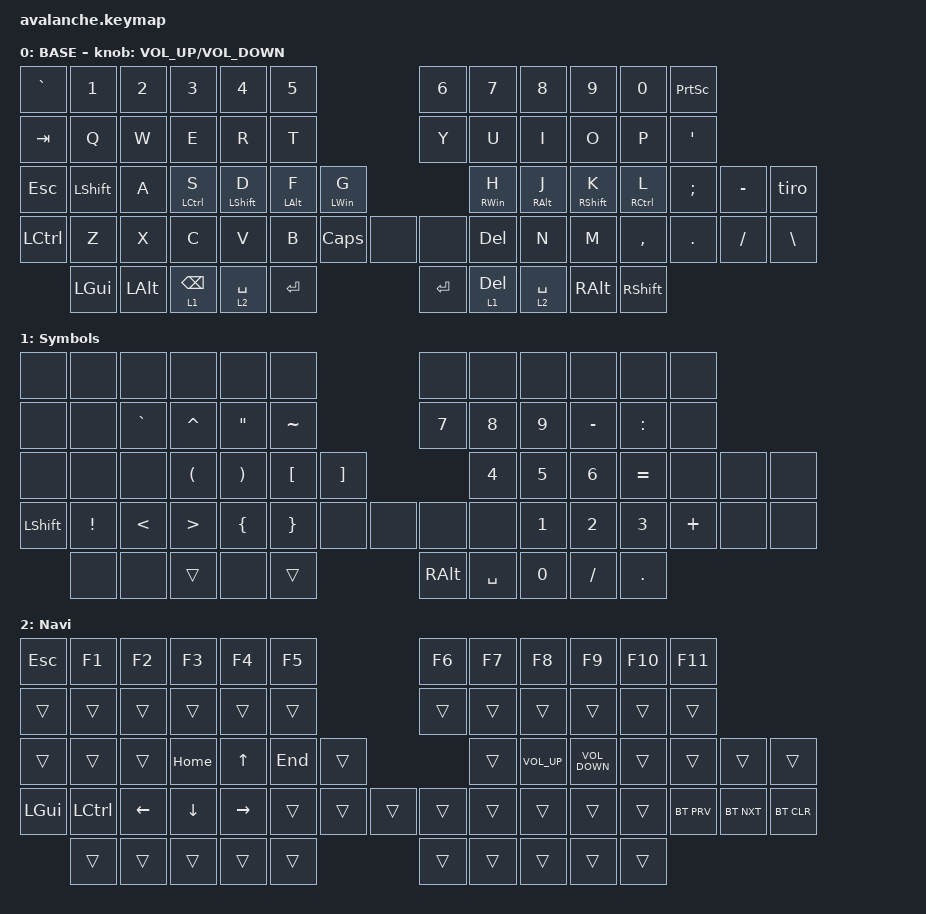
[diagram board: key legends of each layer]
#include <behaviors.dtsi>
#include <dt-bindings/zmk/bt.h>
#include <dt-bindings/zmk/keys.h>
#include <dt-bindings/zmk/pointing.h>

&lt {
    tapping-term-ms = <200>;
    quick-tap-ms = <100>;
};

&mt { tapping-term-ms = <200>; };

/ {
    behaviors {
        bhm: balanced_homerow_mods {
            compatible = "zmk,behavior-hold-tap";
            #binding-cells = <2>;
            tapping-term-ms = <200>;

            // <---[[moderate duration]]

            quick-tap-ms = <0>;
            flavor = "hold-preferred";
            bindings = <&kp>, <&kp>;
        };

        hm: homerow_mods {
            compatible = "zmk,behavior-hold-tap";
            #binding-cells = <2>;
            tapping-term-ms = <400>;
            flavor = "tap-preferred";
            bindings = <&kp>, <&kp>;

            quick-tap-ms = <200>;
        };
    };

    macros {
        macro_vim_save: vim_save {
            compatible = "zmk,behavior-macro";
            #binding-cells = <0>;
            wait-ms = <0>;
            tap-ms = <5>;
            bindings = <&kp ESCAPE &kp COLON &kp W &kp ENTER>;
            label = "VIM_SAVE";
        };

        macro_previous_folder: macro_previous_folder {
            compatible = "zmk,behavior-macro";
            #binding-cells = <0>;
            wait-ms = <0>;
            tap-ms = <5>;
            bindings = <&kp DOT &kp DOT &kp FSLH>;
            label = "MACRO_PREVIOUS_FOLDER";
        };

        macro_vim_replace: replace {
            compatible = "zmk,behavior-macro";
            #binding-cells = <0>;
            bindings = <&kp ESC &kp COLON &kp PERCENT &kp S &kp SLASH>;
            label = "REPLACE";
        };

        macro_paste: paste {
            compatible = "zmk,behavior-macro";
            #binding-cells = <0>;
            bindings = <&kp LEFT_GUI &kp V>;
            label = "PASTE";
        };

        clear_highlight: clear_highlight {
            compatible = "zmk,behavior-macro";
            #binding-cells = <0>;
            bindings = <&kp ESCAPE &kp COLON &kp N &kp O &kp N &kp ENTER>;
            label = "CLEAR_HIGHLIGHT";
        };

        tiro: tiro {
            compatible = "zmk,behavior-macro";
            #binding-cells = <0>;
            bindings = <&kp V &mkp MB1>;
            label = "TIRO";
        };
    };

    combos { compatible = "zmk,combos"; };

    keymap {
        compatible = "zmk,keymap";

        BASE {
            bindings = <
&kp GRAVE  &kp N1          &kp N2        &kp N3               &kp N4             &kp N5                                   &kp N6     &kp N7            &kp N8            &kp N9              &kp N0                &kp PRINTSCREEN
&kp TAB    &kp Q           &kp W         &kp E                &kp R              &kp T                                    &kp Y      &kp U             &kp I             &kp O               &kp P                 &kp APOS
&kp ESC    &kp LEFT_SHIFT  &kp A         &bhm LEFT_CONTROL S  &bhm LEFT_SHIFT D  &bhm LEFT_ALT F  &bhm LEFT_WIN G                    &bhm RIGHT_WIN H  &bhm RIGHT_ALT J  &bhm RIGHT_SHIFT K  &bhm RIGHT_CONTROL L  &kp SEMI         &kp MINUS  &tiro
&kp LCTRL  &kp Z           &kp X         &kp C                &kp V              &kp B            &kp CAPS         &none  &none      &kp DEL           &kp N             &kp M               &kp COMMA             &kp DOT          &kp FSLH   &kp BACKSLASH
           &kp LEFT_GUI    &kp LEFT_ALT  &lt 1 BACKSPACE      &lt 2 SPACE        &kp ENTER                                &kp ENTER  &lt 1 DEL         &lt 2 SPACE       &kp RIGHT_ALT       &kp RIGHT_SHIFT
            >;

            sensor-bindings = <&inc_dec_kp C_VOLUME_UP C_VOLUME_DOWN>;
        };

        Symbols {
            bindings = <
&none           &none            &none          &none                 &none                  &none                                       &none          &none      &none   &none      &none      &none
&none           &none            &kp GRAVE      &kp CARET             &kp DOUBLE_QUOTES      &kp TILDE                                   &kp N7         &kp N8     &kp N9  &kp MINUS  &kp COLON  &none
&none           &none            &none          &kp LEFT_PARENTHESIS  &kp RIGHT_PARENTHESIS  &kp LEFT_BRACKET  &kp RIGHT_BRACKET                        &kp N4     &kp N5  &kp N6     &kp EQUAL  &none     &none  &none
&kp LEFT_SHIFT  &kp EXCLAMATION  &kp LESS_THAN  &kp GREATER_THAN      &kp LEFT_BRACE         &kp RIGHT_BRACE   &none              &none  &none          &none      &kp N1  &kp N2     &kp N3     &kp PLUS  &none  &none
                &none            &none          &trans                &none                  &trans                                      &kp RIGHT_ALT  &kp SPACE  &kp N0  &kp FSLH   &kp DOT
            >;
        };

        Navi {
            bindings = <
&kp ESC   &kp F1     &kp F2    &kp F3    &kp F4     &kp F5                   &kp F6  &kp F7  &kp F8           &kp F9             &kp F10  &kp F11
&trans    &trans     &trans    &trans    &trans     &trans                   &trans  &trans  &trans           &trans             &trans   &trans
&trans    &trans     &trans    &kp HOME  &kp UP     &kp END  &trans                  &trans  &kp C_VOLUME_UP  &kp C_VOLUME_DOWN  &trans   &trans      &trans      &trans
&kp LGUI  &kp LCTRL  &kp LEFT  &kp DOWN  &kp RIGHT  &trans   &trans  &trans  &trans  &trans  &trans           &trans             &trans   &bt BT_PRV  &bt BT_NXT  &bt BT_CLR
          &trans     &trans    &trans    &trans     &trans                   &trans  &trans  &trans           &trans             &trans
            >;
        };
    };
};
